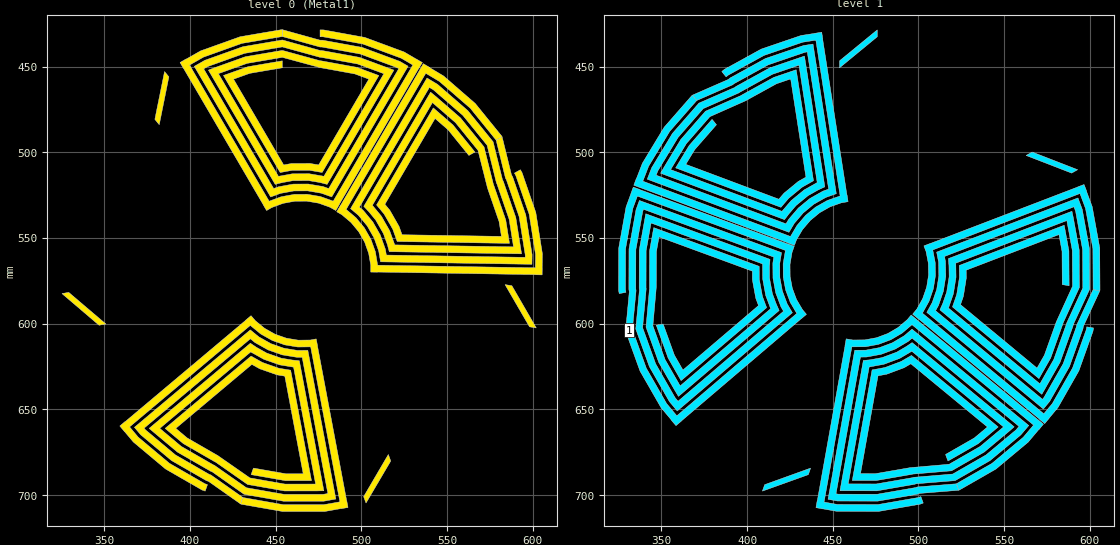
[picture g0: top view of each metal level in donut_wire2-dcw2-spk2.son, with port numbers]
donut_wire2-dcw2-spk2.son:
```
FTYP SONPROJ 18 ! Sonnet Project File
VER 17.56
HEADER
LIC Sonn.1.12345 5ebde752e8e3 LAPTOP-O1OQGKBH User FullLicense
DAT 03/03/2024 12:32:47
BUILT_BY_CREATED xgeom 17.56 09/11/2023 21:14:34
BUILT_BY_SAVED sonnet 17.56
MDATE 03/03/2024 12:32:47
HDATE 03/03/2024 12:32:47
END HEADER
DIM
ANG DEG
CAP PF
CON /OH
FREQ MHZ
IND NH
LNG MM
RES OH
END DIM
CONTROL
VARSWP
OPTIONS  -d
SPEED 0
CACHE_ABS 1
Q_ACC N
END CONTROL
GEO
TMET "Lossless" 0 SUP 0 0 0 0
BMET "Lossless" 0 SUP 0 0 0 0
BOX 2 1000 1000 2000 2000 20 0
      7.62 1 1 0 0 0 0 "Air"
      2.5 4.4 1 0.02 0 0 0 "FR4"
      7.62 1 1 0 0 0 0 "Air"
TECHLAY METAL Metal1 <UNSPECIFIED> -2 -65534 
0 0 -1 N 721 1 1 100 100 0 0 0 Y
END
END
LORGN 0 1000 U 
POR1 GAP
POLY 690 1
35
1 50 0 0 0 331.12267 603.75947 
NUM 21
0 101 -1 N 631 1 1 100 100 0 0 0 Y
TLAYNAM Metal1 INH
450.9581289 524.6685948
452.7709354 523.9975497
460.6898571 522.5565815
468.7386941 522.5126113
476.6728864 523.8669749
478.9365902 524.6769187
482.768424 526.0479331
484.8223397 522.5344882
525.3332271 453.2362347
527.3519503 449.7829905
523.8987781 447.7640822
522.48072 446.93501
500.49192 438.79541
477.42372 434.59781
475.96632 434.5898475
453.96632 428.4696389
453.96632 432.4696469
475.96632 438.5899777
477.05192 438.59591
499.43152 442.66821
520.76392 450.56481
521.8800462 451.2173482
480.9905025 521.1634726
477.6909142 519.9828935
469.0667921 518.5107592
460.3180563 518.558553
451.7105327 520.1248227
448.9082914 521.1621261
408.080451 451.3216904
410.46512 449.96221
431.88252 442.29911
453.96632 438.5294594
475.96632 444.5900268
476.49422 444.59291
497.84092 448.47731
513.2067446 454.1652432
478.2345732 513.9889239
469.5588487 512.5079811
459.7602646 512.5615101
451.6891195 514.0301776
416.66437 454.1166751
433.40952 448.12531
453.96632 444.6162782
475.96632 450.5953326
496.25032 454.28631
504.4184059 457.309885
475.1505755 507.3757147
470.0509054 506.505203
459.202473 506.5644673
454.748537 507.3749286
425.4930356 457.330288
434.93662 453.95141
453.96632 450.7030776
453.96632 446.6451733
433.91862 450.06731
423.4391079 453.8168267
419.6072601 455.1878426
421.6611866 458.7013088
450.5606351 508.136981
452.7088638 511.8117615
456.8967696 511.0497084
459.5742738 510.5624958
469.7228074 510.5070551
472.9936423 511.0653853
477.2065611 511.784529
479.3634982 508.094859
508.2275122 458.7198993
510.2773201 455.2134853
506.4682158 453.8034606
497.31072 450.41361
476.30832 446.59191
475.96632 446.5900419
453.96632 440.5583726
432.39152 444.24121
414.6104521 450.6032334
410.8275385 452.0578152
412.8463632 455.5112469
447.7380069 515.1974128
449.7878377 518.703884
453.8373536 517.7049572
460.1320655 516.5595387
469.2307507 516.5098332
476.0776384 517.6785943
480.1015043 518.7212613
482.1554167 515.2078152
517.0158044 455.5752344
519.0656638 452.0687214
515.2566092 450.6587282
498.90132 444.60451
476.86602 440.59491
476.49422 440.5928781
475.96632 440.5899931
453.96632 434.4715536
430.86452 438.41511
408.78812 446.31391
406.0616142 447.8682518
402.5863808 449.8494324
404.6052271 453.3028873
445.0991653 522.5721472
447.1490029 526.0786159
450.9581289 524.6685948
END
0 101 -1 N 636 1 1 100 100 0 0 0 Y
TLAYNAM Metal1 INH
496.86864 535.50675
498.34252 536.75745
503.4821 542.95185
507.46796 549.94461
510.17896 557.52327
510.58336 559.89325
511.26786 563.90499
515.33708 563.97175
595.59694 565.28865
599.59642 565.35427
599.66224 561.35477
599.68926 559.71235
595.99834 536.55771
588.34268 514.39575
587.63484 513.12177
582.17858 490.94777
578.69268 492.90957
584.14884 515.08361
584.6761 516.03259
592.10324 537.53301
595.684 559.99645
595.66274 561.28915
514.65256 559.96001
514.06312 556.50551
511.11636 548.26783
506.78392 540.66701
501.19742 533.93397
498.91908 532.00065
539.75906 462.16731
542.11338 463.57873
559.29566 478.48501
573.41174 495.88159
578.91998 518.02633
579.17636 518.48779
586.26066 538.99591
588.83992 555.17641
519.55332 554.03957
516.58894 545.75259
511.7366 537.23967
506.49822 530.92621
541.53328 471.01873
554.9672 482.67319
568.10726 498.86685
573.68652 520.97161
580.41818 540.45875
581.78924 549.05991
523.804 548.10851
522.0615 543.23737
516.68928 533.81233
513.79856 530.32835
543.06272 480.28877
550.63888 486.86141
562.80278 501.85211
566.33912 499.86191
553.5245 484.06931
545.11724 476.77567
542.04312 474.10873
539.98858 477.62183
511.0805 527.05247
508.93164 530.72687
511.6497 534.00275
513.38746 536.09717
518.4131 544.91413
519.5307 548.03841
520.9702 552.06253
525.2435 552.13265
582.42862 553.07097
586.48968 553.13761
585.85032 549.12655
584.3132 539.48351
577.34312 519.30619
577.17702 519.00723
571.6436 496.87665
557.8528 479.88109
543.5878 467.50565
540.46486 464.92235
538.44542 468.37541
503.5432 528.05539
501.49274 531.56151
504.34936 534.60061
508.43478 539.52451
512.94052 547.42937
515.28002 553.96945
516.34486 557.98751
520.41406 558.05427
589.4793 559.18741
593.54048 559.25405
592.9011 555.24305
590.15576 538.02061
582.84286 516.85099
582.66228 516.52599
582.40588 516.06453
576.94808 493.89139
562.18116 475.69295
544.47028 460.32797
541.7785 458.71423
538.34754 456.65733
536.3281 460.11043
495.82212 529.37265
493.77168 532.87875
496.86864 535.50675
END
0 101 -1 N 692 1 1 100 100 0 0 0 Y
TLAYNAM Metal1 INH
464.77784 615.59468
462.8449 615.6178
454.90214 614.3147
447.30626 611.6522
440.28828 607.711
438.4282 606.18772
435.27968 603.609
432.16466 606.22838
370.72794 657.88964
367.66636 660.46406
370.24066 663.52566
371.29778 664.78298
389.27412 679.83658
409.59156 691.5398
410.9615 692.03686
429.6268 705.19214
430.97076 701.42464
412.3053 688.26926
411.28486 687.89904
391.57392 676.54504
374.13412 661.94086
373.30218 660.95124
435.31334 608.80698
438.02452 611.02728
445.65294 615.31112
453.9092 618.20526
462.5426 619.6217
465.5305 619.58612
480.523 699.08336
477.8201 699.56276
455.07316 699.58544
433.00638 695.7171
414.32108 682.6179
413.8248 682.43792
395.02366 671.60784
382.46178 661.08844
435.49886 616.4904
443.17288 620.79986
452.41988 624.04104
460.51542 625.3693
473.37686 693.56706
455.59214 693.58474
435.05122 689.98396
416.33856 676.96162
398.47332 666.67086
391.7957 661.079
436.1819 623.75532
440.69278 626.28828
450.93054 629.87706
455.398 630.60996
466.14098 687.5743
456.1111 687.58436
437.0961 684.25096
435.73292 688.07304
455.76502 691.58476
466.89522 691.57356
470.96496 691.56948
470.21066 687.57028
459.59848 631.29902
458.8096 627.11622
454.60904 626.42714
451.92362 625.9865
442.34624 622.62928
439.453 621.00458
435.7266 618.91204
432.45534 621.66262
388.68158 658.47126
385.573 661.08526
388.68712 663.69294
396.1735 669.96226
414.67148 680.61746
414.9929 680.73416
433.68812 693.80606
455.24614 697.5852
474.13118 697.56628
478.1829 697.4672
477.44146 693.53626
464.62902 625.59728
463.87622 621.60582
459.72656 621.18638
453.41282 620.15052
444.82614 617.14074
438.76994 613.7398
435.33014 611.40584
432.21526 614.02514
379.34768 658.48076
376.23894 661.09486
379.35296 663.70258
392.72376 674.89942
412.13158 686.0786
412.481 686.20544
412.97724 686.38548
431.64312 699.53912
454.7272 703.58566
478.17404 703.56234
481.26434 703.01428
485.20308 702.31568
484.46178 698.38478
469.59192 619.53756
468.83924 615.54628
464.77784 615.59468
END
0 5 -1 N 708 1 1 100 100 0 0 0 Y
TLAYNAM Metal1 INH
329.32888 581.73046
351.03884 600.19034
347.04452 600.90616
325.39154 582.43612
329.32888 581.73046
END
0 5 -1 N 709 1 1 100 100 0 0 0 Y
TLAYNAM Metal1 INH
517.20942 680.11614
502.77998 704.64746
501.40128 700.89248
515.81084 676.30674
517.20942 680.11614
END
0 5 -1 N 710 1 1 100 100 0 0 0 Y
TLAYNAM Metal1 INH
587.88794 577.85624
602.13356 602.4948
598.1865 601.84586
583.8838 577.1977
587.88794 577.85624
END
0 5 -1 N 712 1 1 100 100 0 0 0 Y
TLAYNAM Metal1 INH
387.7708672 455.9864732
382.1506872 483.9239532
379.5881672 480.7775132
385.2448872 452.8849132
387.7708672 455.9864732
END
0 52 -1 N 622 1 1 100 100 0 0 0 Y
447.7978091 532.2363644
454.3616299 529.8066401
461.2476488 528.5536244
468.2466374 528.5153894
475.1459351 529.6930968
481.7359103 532.0509628
485.1558026 534.0006067
487.1748172 530.5472763
487.1098462 530.5102371
533.5409451 451.0847566
533.61082 451.12561
535.62972 447.67241
535.5596924 447.6314682
535.58007 447.59661
532.12687 445.57791
532.1065893 445.6126023
525.05592 441.49041
502.08252 432.98631
477.98142 428.60081
475.96632 428.5898035
475.96632 432.5898327
477.60962 432.59881
501.02212 436.85911
523.33912 445.12011
530.0878571 449.0658581
483.6346213 528.5290487
483.4129356 528.402668
476.1639629 525.8090155
468.5747354 524.5135373
460.8758479 524.5555958
453.3012272 525.9339132
446.2695169 528.5368357
399.8393885 449.1133299
407.94952 444.48981
430.35552 436.47301
453.96632 432.4696469
453.96632 428.4696389
453.81312 428.4688021
453.48502 428.46701
429.33742 432.58891
406.27252 440.84151
397.8205323 445.6598689
397.77262 445.57791
394.31942 447.59661
394.3453742 447.6410075
394.30292 447.66521
396.32192 451.11861
396.3642335 451.0944874
442.7986633 530.5256659
442.7578228 530.5495436
444.7767169 534.0026678
447.7978091 532.2363644
END
0 52 -1 N 635 1 1 100 100 0 0 0 Y
488.72358 536.46423
494.06022 540.99275
498.52942 546.37917
501.99538 552.45983
504.35278 559.04997
505.53 565.94935
505.50822 569.88589
509.50792 569.95173
509.50834 569.87693
601.49734 571.38625
601.496 571.46719
605.49554 571.53299
605.49686 571.45187
605.53724 571.45253
605.60286 567.45311
605.56268 567.45245
605.69708 559.28627
601.8409 535.09481
593.8424 511.94055
592.8637 510.17905
589.3778 512.14087
590.17592 513.57735
597.9458 536.07011
601.6919 559.57031
601.5632 567.38683
509.53048 565.87671
509.53188 565.62153
508.23694 558.03221
505.64378 550.78307
501.83124 544.09433
496.91512 538.16927
491.19806 533.31793
537.64178 453.90237
545.64864 458.70253
563.62402 474.29689
578.69268 492.90957
582.17858 490.94777
582.10416 490.81385
581.94482 490.52703
566.50956 471.50469
548.00554 455.45177
539.66122 450.44927
539.70916 450.36731
536.2563 448.34801
536.23034 448.39241
536.18842 448.36729
534.1691 451.82049
534.21088 451.84553
487.76258 531.26861
487.72174 531.24473
485.70262 534.69771
488.72358 536.46423
END
0 52 -1 N 691 1 1 100 100 0 0 0 Y
470.29682 609.52854
463.29826 609.61194
456.3914 608.47874
449.78638 606.16352
443.6837 602.7365
438.26878 598.3018
435.70272 595.3165
432.6408 597.89086
432.68962 597.94766
362.2745 657.1587
362.22244 657.09674
359.1607 659.67106
359.2129 659.7332
359.182 659.7592
361.75632 662.82056
361.78706 662.79476
367.0431 669.04598
385.82458 684.77366
407.05152 697.0009
408.94584 697.68816
410.28966 693.92072
408.74494 693.36016
388.12424 681.48218
369.87964 666.20394
364.8486 660.22042
435.29726 600.98112
435.46366 601.17466
441.41996 606.05282
448.133 609.82254
455.39846 612.36946
462.9959 613.6158
470.49342 613.52644
487.54324 703.93196
478.35114 705.56216
454.55418 705.58596
430.97076 701.42464
429.6268 705.19214
429.77092 705.24446
430.07934 705.35646
454.20816 709.58634
478.70504 709.56174
488.28446 707.86296
488.3021 707.95624
492.23284 707.21494
492.22326 707.1643
492.27132 707.15578
491.5299 703.22486
491.48188 703.23338
474.43066 612.81916
474.47722 612.81044
473.73572 608.87968
470.29682 609.52854
END
1 101 -1 N 649 1 1 100 100 0 0 0 Y
426.5265272 543.1753932
427.5083872 541.5103132
432.7386472 535.3922932
438.9518472 530.2754532
445.9591672 526.3152532
448.2258672 525.5137732
452.0628072 524.1570932
451.4366872 520.1357932
439.0872072 440.8207732
438.4718072 436.8683732
434.5193672 437.4835932
432.8962672 437.7362332
410.7064072 445.3105532
390.1689272 456.6230932
389.0338472 457.5372532
368.1105272 466.6844732
370.6364872 469.7860132
391.5598872 460.6388932
392.4053872 459.9579532
412.3298272 448.9831132
433.8572672 441.6348532
435.1347672 441.4360132
447.5997472 521.4924732
444.2957672 522.6607332
436.6791272 526.9652932
429.9256472 532.5270732
424.2405872 539.1770732
422.7228072 541.7509732
346.9620872 513.3800132
347.9526272 510.8199932
359.7202272 491.3532932
374.4631872 474.4847132
395.3488472 465.2912532
395.7599872 464.9601132
414.7648672 454.4918332
430.2711672 449.1988532
440.9322072 517.6697732
433.2699672 522.0000932
425.7060872 528.2292932
420.3752872 534.4648932
355.3829472 510.1265532
364.5834072 494.9065732
378.3069472 479.2043532
399.1411272 469.9476732
417.1998472 460.0004932
425.4426272 457.1868932
434.3647472 514.4894932
429.8608272 517.0348932
421.4865272 523.9315132
418.5448072 527.3725332
364.2579072 507.0431532
369.4466072 498.4596932
382.1506872 483.9239532
379.5881672 480.7775132
366.2045072 496.0908732
360.4466272 505.6158932
358.3412472 509.0987132
362.1525472 510.5259732
415.7787872 530.6080332
419.7650872 532.1008132
422.5310872 528.8653132
424.2995272 526.7967332
432.1335472 520.3450732
435.0222672 518.7124932
438.7430472 516.6096932
438.0855272 512.3866932
429.2865472 455.8747932
428.6616872 451.8615332
424.8177472 453.1736332
415.5765072 456.3280332
396.8781872 466.6275132
396.6118272 466.8420332
375.7444272 476.0578932
361.3413072 492.5377532
351.5716672 508.6993132
349.5570072 512.2160332
353.3031672 513.6189132
418.0487472 537.8650332
421.8524472 539.2894732
424.3615872 535.9576932
428.5190872 531.0945132
435.5426872 525.3102532
441.5897272 521.8927732
445.3682072 520.1602132
444.7420872 516.1389132
434.1150472 447.8867532
433.4901672 443.8733932
429.6462872 445.1854732
413.1414672 450.8192932
393.5235872 461.6253532
393.2340272 461.8585532
392.8228672 462.1896732
371.9006672 471.3382732
356.4781672 488.9845532
344.3484472 509.0501532
343.2159072 511.9771332
341.7723472 515.7078732
345.5185472 517.1107532
420.6596872 545.2496932
424.4633872 546.6741132
426.5265272 543.1753932
END
1 52 -1 N 650 1 1 100 100 0 0 0 Y
428.8550072 551.0390332
432.4101672 545.0100932
436.9582272 539.6900732
442.3609872 535.2406532
448.4543072 531.7969932
455.0530472 529.4637732
458.9359672 528.8158732
458.3207472 524.8632332
458.2469672 524.8755332
444.0927272 433.9694732
444.1727072 433.9570332
443.5574672 430.0045532
443.4773272 430.0170332
443.4711072 429.9771332
439.5187672 430.5925132
439.5249472 430.6322332
431.4548472 431.8883532
408.2713672 439.8018332
386.8143272 451.6209332
385.2448872 452.8849132
387.7708672 455.9864732
389.0507272 454.9557132
409.8947672 443.4743732
432.4157672 435.7869132
440.1403472 434.5846332
454.3012272 525.5339132
454.0495272 525.5759132
446.7909272 528.1424732
440.0882672 531.9304732
434.1452272 536.8248532
429.1423672 542.6768532
425.3337872 549.1355732
339.1775472 516.8718132
342.5463272 508.1653532
354.8570872 487.8001132
370.6364872 469.7860132
368.1105272 466.6844732
367.9912072 466.7805732
367.7356872 466.9863732
351.6149072 485.4313532
338.9421472 506.3955132
335.4313272 515.4689332
335.3424272 515.4356332
333.9396472 519.1815532
333.9878072 519.1995932
333.9701672 519.2451732
337.7164472 520.6479132
337.7340272 520.6024932
423.8984672 552.8694932
423.8818672 552.9137932
427.6279072 554.3163732
428.8550072 551.0390332
END
1 101 -1 N 688 1 1 100 100 0 0 0 Y
424.37508 590.104
423.39484 588.43802
420.57956 580.89744
419.11648 572.98264
419.05 564.93394
419.44794 562.56282
420.1216 558.54924
416.30092 557.14734
340.9433 529.4957
337.18808 528.11776
335.80998 531.87294
335.24408 533.41498
331.1109 556.4948
331.04824 579.94174
331.29752 581.37768
329.15404 604.11226
333.0913 603.40668
335.23494 580.67208
335.04926 579.60246
335.11 556.85542
339.11984 534.46456
339.5652 533.25088
415.6273 561.16086
415.04732 564.617
415.11952 573.36554
416.70986 581.96874
419.76986 590.1649
421.28514 592.74028
359.74192 645.2476
357.9831 643.14012
346.66214 623.41034
339.05608 602.33772
341.14088 579.61366
341.05058 579.09352
341.10852 557.39636
343.99682 541.2682
409.0514 565.1392
409.12408 573.9401
410.90522 583.57556
413.7745 591.26108
360.97882 636.30518
352.12764 620.87956
345.04748 601.26406
347.05206 578.55436
347.10704 557.93734
348.64242 549.36398
403.0859 569.34136
403.12862 574.51464
405.1006 585.1825
406.68398 589.42362
362.58476 627.04814
357.59304 618.34868
351.03884 600.19034
347.04452 600.90616
353.94944 620.03586
359.48868 629.6896
361.51412 633.21952
364.61014 630.57802
408.1729 593.41146
411.41108 590.64864
409.92224 586.66086
408.97038 584.11132
407.12562 574.13164
407.0982 570.8136
407.0629 566.53992
403.05062 565.0676
349.3584 545.3659
345.54536 543.96674
344.82938 547.96486
343.10804 557.57666
343.05102 578.92392
343.10948 579.2609
341.05316 601.97982
348.48402 622.5667
357.88286 638.9467
359.9819 642.41368
363.02504 639.81734
415.62046 594.94432
418.71038 592.30816
417.01282 588.4983
414.77494 582.5044
413.12104 573.55714
413.06372 566.6114
413.38018 562.46672
409.55952 561.06474
344.71274 537.27012
340.8997 535.87092
340.18368 539.86892
337.10946 557.03574
337.04972 579.43284
337.11334 579.79912
337.20356 580.31926
335.0618 603.05354
343.0186 625.09744
354.6878 645.43434
356.69874 647.84392
359.26188 650.91518
362.30498 648.31882
423.34504 596.24096
426.43494 593.60466
424.37508 590.104
END
1 52 -1 N 690 1 1 100 100 0 0 0 Y
432.3817 591.87986
428.83224 585.84756
426.38414 579.29052
425.11194 572.40804
425.05414 565.4092
426.21256 558.5067
427.52846 554.79644
423.77312 553.41828
423.7481 553.48872
337.37774 521.79622
337.40564 521.72018
333.65042 520.3421
333.62252 520.41824
333.58458 520.40438
332.2067 524.15952
332.24438 524.17336
329.43058 531.8406
325.11228 555.95386
325.04694 580.45062
325.39154 582.43612
329.32888 581.73046
329.04782 580.1114
329.11142 556.31448
333.30618 532.89022
335.9996 525.55128
422.41096 557.25896
422.32568 557.49946
421.0514 565.09228
421.11492 572.791
422.51442 580.36178
425.20728 587.57448
429.0098 594.03682
359.0219 653.74892
353.04028 646.58156
341.19678 625.94108
333.0913 603.40668
329.15404 604.11226
329.1802 604.26324
329.23636 604.58648
337.55316 627.62832
349.74496 648.87582
355.97866 656.34536
355.90644 656.40696
358.50266 659.44984
358.54174 659.41656
358.57306 659.45406
361.61614 656.85754
361.58498 656.82016
431.57968 597.10238
431.6104 597.13836
434.6532 594.542
432.3817 591.87986
END
1 52 -1 N 694 1 1 100 100 0 0 0 Y
493.50154 597.6429
488.17722 602.18586
482.14506 605.73536
475.5879 608.18338
468.70546 609.45566
461.70664 609.51344
457.82422 608.86182
457.11918 612.79942
457.19288 612.8118
440.97992 703.37336
440.90022 703.359
440.19512 707.29664
440.27494 707.3108
440.26792 707.35054
444.20526 708.05564
444.21236 708.0159
452.2517 709.45564
476.7485 709.52104
500.88442 705.33154
502.77998 704.64746
501.40128 700.89248
499.85564 701.45044
476.4092 705.5201
452.61236 705.45662
444.91722 704.07856
461.13786 613.474
461.3897 613.51616
469.0883 613.45258
476.65922 612.05322
483.87182 609.36028
490.50748 605.45592
496.21134 600.58908
567.16948 659.14462
561.1497 666.28008
542.87946 681.52782
522.09502 693.4232
523.4734 697.1782
523.61742 697.1261
523.92614 697.01474
545.17374 684.8231
563.98142 669.12694
570.255 661.69076
570.32808 661.75124
572.87396 658.66612
572.8345 658.63332
572.86582 658.596
569.7804 656.05006
569.74904 656.0872
498.78406 597.5257
498.8141 597.4893
495.72878 594.94346
493.50154 597.6429
END
1 101 -1 N 695 1 1 100 100 0 0 0 Y
493.14304 605.83618
491.6725 607.09088
484.7354 611.17268
477.1949 613.98808
469.28004 615.45122
466.87592 615.47098
462.8063 615.50454
462.08916 619.5105
447.94332 698.52498
447.2384 702.46242
451.17574 703.16752
452.79282 703.4571
476.23948 703.51964
499.34114 699.50988
500.71212 699.01506
523.4734 697.1782
522.09502 693.4232
499.33336 695.2599
498.31228 695.62844
475.90028 699.51866
453.15324 699.45778
451.88074 699.23
466.15858 619.47698
469.663 619.44802
478.26602 617.8579
486.46242 614.79774
494.0026 610.3608
496.27588 608.4215
558.67236 659.91186
556.90228 662.00992
539.43808 676.5849
520.00638 687.73458
497.26564 689.62758
496.76902 689.80676
475.39146 693.51738
459.00678 693.47354
471.21842 625.26222
479.87306 623.66228
489.05278 620.23512
496.12336 616.07486
549.651 660.24658
535.99656 671.64186
517.9086 682.02084
495.1959 683.99012
474.88262 687.51612
466.17268 687.49278
476.39264 630.40732
481.47982 629.46692
491.64322 625.67242
495.5451 623.37662
540.2556 660.27252
532.55524 666.69906
515.81084 676.30674
517.20942 680.11614
534.84948 669.9943
543.39464 662.8629
546.5192 660.25526
543.38026 657.66494
499.2137 621.21786
495.93064 618.50872
492.2619 620.66736
489.91644 622.0475
480.40858 625.5971
477.14586 626.2003
472.94318 626.97716
472.19002 631.18432
462.11108 687.48184
461.39534 691.47998
465.45702 691.4908
475.2217 691.5169
496.25456 687.86618
496.5763 687.75
519.30712 685.83008
538.29088 674.93728
552.78992 662.83686
555.83976 660.16766
552.75438 657.62158
499.43008 613.61724
496.29724 611.03208
492.84024 613.36542
487.3259 616.61014
478.80188 619.79262
471.97162 621.05522
467.83494 621.46328
467.11758 625.4693
454.94504 693.4628
454.2293 697.46078
458.2909 697.47178
475.73072 697.51824
497.79798 693.68784
498.14746 693.56166
498.64418 693.38246
521.40492 691.54392
541.73216 679.8801
559.73374 664.85678
561.75762 662.45786
564.33712 659.40046
561.25178 656.85436
499.36562 605.78496
496.23274 603.19982
493.14304 605.83618
END
1 52 -1 N 696 1 1 100 100 0 0 0 Y
504.43262 557.87886
505.76474 564.74996
505.88382 571.74794
504.7856 578.6605
502.50374 585.27714
499.1077 591.397
496.62874 594.45522
499.70866 597.00782
499.75582 596.94976
570.59286 655.65542
570.54114 655.71782
573.62106 658.27056
573.67278 658.20788
573.70384 658.23364
576.25638 655.15396
576.22532 655.12818
581.43722 648.84018
593.55686 627.5513
601.79558 604.48152
602.13356 602.4948
598.1865 601.84586
597.91106 603.46578
589.90754 625.87652
578.13414 646.55698
573.14558 652.57594
502.27474 593.84232
502.43556 593.64396
506.17104 586.91212
508.68118 579.6335
509.8891 572.03006
509.75844 564.33202
508.33132 556.97112
594.23688 524.04638
597.483 532.79946
601.75732 556.20938
601.87578 580.1568
605.82258 580.80618
605.84814 580.65508
605.90326 580.33164
605.755 555.83522
601.35522 531.73672
597.97224 522.6147
598.06094 522.58078
596.62944 518.84588
596.5815 518.86406
596.56436 518.81842
592.8292 520.25008
592.84616 520.29576
506.93192 553.22342
506.91496 553.1794
503.17996 554.61098
504.43262 557.87886
END
1 101 -1 N 697 1 1 100 100 0 0 0 Y
511.38734 562.22544
511.75508 564.12314
511.8917 572.17084
510.62902 580.12014
508.00502 587.72936
506.83844 589.83154
504.86356 593.39014
507.9971 595.9869
569.80202 647.20736
572.88188 649.75988
575.43436 646.68012
576.48274 645.41524
588.08288 625.0392
595.96876 602.95806
596.21314 601.52116
605.82258 580.80618
601.87578 580.1568
592.26594 600.87194
592.0838 601.94216
584.43346 623.36422
573.1794 643.13226
572.35448 644.12758
509.97182 592.42842
511.67224 589.36422
514.52466 581.09342
515.89734 572.45278
515.7485 563.70526
515.17998 560.77182
590.72052 531.81968
591.67486 534.39342
595.76048 556.77056
595.89616 579.1734
586.34568 599.89814
586.257 600.41858
578.95982 620.85182
570.8534 635.09088
517.49858 590.87344
520.36784 582.553
521.90532 572.87574
521.76618 564.67328
586.5694 539.83634
589.76368 557.33184
589.89012 578.1857
580.41974 598.92348
573.48588 618.33962
569.1767 625.90878
524.52454 588.9036
526.21112 584.01286
527.91328 573.29862
527.83644 568.7721
581.96552 548.02644
583.76708 557.8931
583.8838 577.1977
587.88794 577.85624
587.76488 557.51892
585.7658 546.56994
585.03478 542.56634
581.23464 544.02284
527.7641 564.51602
523.7895 566.03942
523.86174 570.29552
523.908 573.01654
522.31548 583.03976
521.23386 586.1764
519.8405 590.21678
523.1314 592.94402
567.1671 629.43842
570.2945 632.03022
572.30398 628.5004
577.13504 620.01454
584.31464 599.91082
584.3719 599.57354
593.89416 578.84428
593.76168 556.9577
590.36958 538.37982
589.54826 534.4111
585.81288 535.84266
521.25546 560.58506
517.4627 562.03872
517.79126 566.19652
517.89986 572.59374
516.47234 581.57974
514.20782 588.14624
512.52596 591.94766
515.6594 594.5446
568.84386 638.62076
571.97114 641.21234
573.98082 637.68268
582.6089 622.52672
590.14162 601.43408
590.20394 601.06784
590.29248 600.54734
599.9002 579.832
599.7582 556.39658
595.54692 533.33094
594.45562 530.38816
593.06484 526.63756
589.32952 528.06914
514.4068 556.78432
510.61404 558.23804
511.38734 562.22544
END
1 5 -1 N 704 1 1 100 100 0 0 0 Y
435.73292 688.07304
408.94584 697.68816
410.28966 693.92072
437.0961 684.25096
435.73292 688.07304
END
1 5 -1 N 705 1 1 100 100 0 0 0 Y
475.96632 432.5898327
453.96632 450.7030776
453.96632 446.6451733
475.96632 428.5898035
475.96632 432.5898327
END
1 5 -1 N 711 1 1 100 100 0 0 0 Y
566.33912 499.86191
592.8637 510.17905
589.3778 512.14087
562.80278 501.85211
566.33912 499.86191
END
END GEO
OPT
MAX 100
END OPT
VARSWP
ENABLED Y
FREQ N AY ABS_ENTRY UNK 
FREQ N AN SWEEP 13.5 13.6 0.01
FREQ Y AN STEP 13.56
END
END VARSWP
FILEOUT
TOUCH D Y $BASENAME.s1p IC 15 S RI R 50.00000
FOLDER sondata
END FILEOUT
TRANSLATOR
DXFEXPORT
UseTLs true
SepObj true
SepMat true
DivideMulti false
Circles true
CircleType manual
CircleSize 10
KeepMetals true
KeepVias true
KeepViaPads true
KeepBricks true
KeepEdgeVias true
KeepParent true
ConvertParent false
AllEdgeViasAsVia false
END
END TRANSLATOR
```
